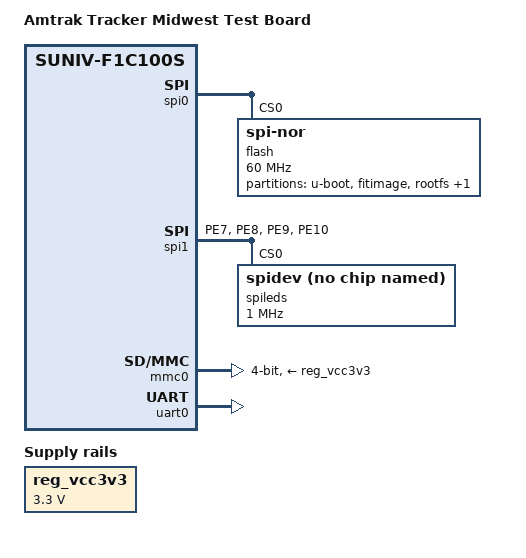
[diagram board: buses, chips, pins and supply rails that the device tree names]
// SPDX-License-Identifier: (GPL-2.0+ OR MIT)
/*
 * Based on work:
 *   Copyright 2022 Arm Ltd,
 *   Copyright 2018 Icenowy Zheng <icenowy@aosc.io>
 */

/dts-v1/;
#include "suniv-f1c100s.dtsi"

#include <dt-bindings/gpio/gpio.h>

/ {
	model = "Amtrak Tracker Midwest Test Board";
	compatible = "amtrak-midwest-test", "allwinner,suniv-f1c200s",
		     "allwinner,suniv-f1c100s";

	aliases {
		serial0 = &uart0;
	};

	chosen {
		stdout-path = "serial0:115200n8";
	};

	reg_vcc3v3: regulator-3v3 {
		compatible = "regulator-fixed";
		regulator-name = "vcc3v3";
		regulator-min-microvolt = <3300000>;
		regulator-max-microvolt = <3300000>;
	};
};

&pio {
	spi1_pc_pins: spi1-pc-pins {
		pins = "PE7", "PE8", "PE9", "PE10";
		function = "spi1";
	};
};

&spi0 {
	pinctrl-names = "default";
	pinctrl-0 = <&spi0_pc_pins>;
	status = "okay";

	flash@0 {
		#address-cells = <1>;
		#size-cells = <1>;
		compatible = "jedec,spi-nor";
		reg = <0>;
		spi-max-frequency = <60000000>;
		partitions {
			compatible = "fixed-partitions";
			#address-cells = <1>;
			#size-cells = <1>;

			partition@0 {
				label = "u-boot";
				reg = <0x000000 0x100000>;
				read-only;
			};

			partition@100000 {
				label = "fitimage";
				reg = <0x100000 0xB00000>;
				read-only;
			};

			partition@C00000 {
				label = "rootfs";
				reg = <0xC00000 0x1000000>;
			};
			
			partition@1C00000 {
				label = "overlayfs";
				reg = <0x1C00000 0x300000>;
			};
		};
	};
};

&spi1 {
	pinctrl-names = "default";
	pinctrl-0 = <&spi1_pc_pins>;
	status = "okay";

	spileds@0 {
		#address-cells = <1>;
		#size-cells = <0>;
		compatible = "rohm,dh2228fv";
		reg = <0>;
		spi-max-frequency = <1000000>;
	};
};

&mmc0 {
	vmmc-supply = <&reg_vcc3v3>;
	bus-width = <4>;
	broken-cd;
	status = "okay";
};

&otg_sram {
	status = "okay";
};

&uart0 {
	pinctrl-names = "default";
	pinctrl-0 = <&uart0_pe_pins>;
	status = "okay";
};
